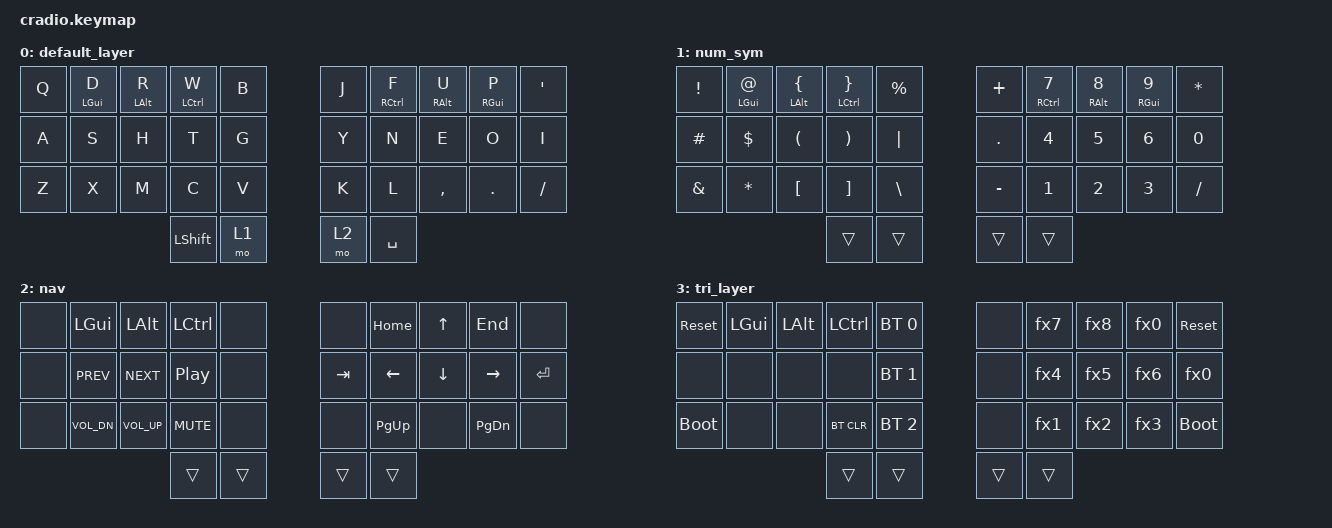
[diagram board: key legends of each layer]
// Copyright (c) 2022 The ZMK Contributors
// SPDX-License-Identifier: MIT

#include <behaviors.dtsi>
#include <dt-bindings/zmk/bt.h>
#include <dt-bindings/zmk/keys.h>

/ {
    behaviors {
        ht: hold_tap {
            label = "hold_tap";
            compatible = "zmk,behavior-hold-tap";
            #binding-cells = <2>;
            flavor = "tap-preferred";
            tapping-term-ms = <350>;
            quick-tap-ms = <150>;
            require-prior-idle-ms = <100>;
            bindings = <&kp>, <&kp>;
        };

        fx0: fx0 {
            compatible = "zmk,behavior-tap-dance";
            label = "FX0";
            #binding-cells = <0>;
            bindings = <&kp F10>, <&kp F20>;
        };

        fx1: fx1 {
            compatible = "zmk,behavior-tap-dance";
            label = "FX1";
            #binding-cells = <0>;
            bindings = <&kp F1>, <&kp F11>, <&kp F21>;
        };

        fx2: fx2 {
            compatible = "zmk,behavior-tap-dance";
            label = "FX2";
            #binding-cells = <0>;
            bindings = <&kp F2>, <&kp F12>, <&kp F22>;
        };

        fx3: fx3 {
            compatible = "zmk,behavior-tap-dance";
            label = "FX3";
            #binding-cells = <0>;
            bindings = <&kp F3>, <&kp F13>, <&kp F23>;
        };

        fx4: fx4 {
            compatible = "zmk,behavior-tap-dance";
            label = "FX4";
            #binding-cells = <0>;
            bindings = <&kp F4>, <&kp F14>, <&kp F24>;
        };

        fx5: fx5 {
            compatible = "zmk,behavior-tap-dance";
            label = "FX5";
            #binding-cells = <0>;
            bindings = <&kp F5>, <&kp F15>;
        };

        fx6: fx6 {
            compatible = "zmk,behavior-tap-dance";
            label = "FX6";
            #binding-cells = <0>;
            bindings = <&kp F6>, <&kp F16>;
        };

        fx7: fx7 {
            compatible = "zmk,behavior-tap-dance";
            label = "FX7";
            #binding-cells = <0>;
            bindings = <&kp F7>, <&kp F17>;
        };

        fx8: fx8 {
            compatible = "zmk,behavior-tap-dance";
            label = "FX8";
            #binding-cells = <0>;
            bindings = <&kp F8>, <&kp F18>;
        };

        fx9: fx9 {
            compatible = "zmk,behavior-tap-dance";
            label = "FX9";
            #binding-cells = <0>;
            bindings = <&kp F9>, <&kp F19>;
        };

        comma_semi: comma_semi {
            compatible = "zmk,behavior-tap-dance";
            label = "COMMA_SEMI";
            #binding-cells = <0>;
            bindings = <&kp COLON>, <&kp SEMI>;
        };

        dasherscore: dasherscore {
            compatible = "zmk,behavior-tap-dance";
            label = "DASHERSCORE";
            #binding-cells = <0>;
            bindings = <&kp MINUS>, <&kp UNDER>;
        };

        plus_eq: plus_eq {
            compatible = "zmk,behavior-tap-dance";
            label = "PLUS_EQ";
            #binding-cells = <0>;
            bindings = <&kp EQUAL>, <&kp PLUS>;
        };

        grave_tilde: grave_tilde {
            compatible = "zmk,behavior-tap-dance";
            label = "GRAVE_TILDE";
            #binding-cells = <0>;
            bindings = <&kp GRAVE>, <&kp TILDE>;
        };

        pipe_slash: pipe_slash {
            compatible = "zmk,behavior-tap-dance";
            label = "PIPE_SLASH";
            #binding-cells = <0>;
            bindings = <&kp PIPE>, <&kp BSLH>;
        };
    };

    combos {
        compatible = "zmk,combos";

        backspace {
            bindings = <&kp BACKSPACE>;
            key-positions = <22 23>;
            layers = <0 1 2>;
            slow-release;
        };

        backspace_wd {
            bindings = <&kp LC(BACKSPACE)>;
            key-positions = <23 22 21>;
            layers = <0 1 2>;
            slow-release;
        };

        escape {
            bindings = <&kp ESCAPE>;
            key-positions = <20 21 22 23>;
            layers = <0 1 2>;
        };

        delete {
            bindings = <&kp DELETE>;
            key-positions = <24 23>;
            layers = <0 1 2>;
        };

        delete_wd {
            bindings = <&kp LC(DELETE)>;
            key-positions = <24 23 22>;
            layers = <0 1 2>;
        };

        cut {
            bindings = <&kp LC(X)>;
            key-positions = <25 26>;
            layers = <0 1 2>;
        };

        copy {
            bindings = <&kp LC(INSERT)>;
            key-positions = <26 27>;
            layers = <0 1 2>;
        };

        paste {
            bindings = <&kp LS(INSERT)>;
            key-positions = <26 27 28>;
            layers = <0 1 2>;
        };

        paste_h {
            bindings = <&kp LG(V)>;
            key-positions = <26 27 28 29>;
            layers = <0 1 2>;
        };

        backtick {
            bindings = <&kp GRAVE>;
            key-positions = <33 16>;
        };

        dash {
            bindings = <&kp MINUS>;
            key-positions = <33 17>;
        };

        equals {
            bindings = <&kp EQUAL>;
            key-positions = <33 18>;
        };

        semicolon {
            bindings = <&kp SEMI>;
            key-positions = <33 19>;
        };

        close_tab {
            bindings = <&kp LC(W)>;
            key-positions = <3 30>;
        };

        bootloader_right {
            bindings = <&bootloader>;
            key-positions = <32 9>;
        };

        bootloader_left {
            bindings = <&bootloader>;
            key-positions = <0 31>;
        };
    };

    conditional_layers {
        compatible = "zmk,conditional-layers";

        tri_layer {
            if-layers = <1 2>;
            then-layer = <3>;
        };
    };

    keymap {
        compatible = "zmk,keymap";

        default_layer {
            bindings = <
&kp Q  &ht LGUI D  &ht LALT R  &ht LCTRL W  &kp B    &kp J  &ht RCTRL F  &ht RALT U  &ht RGUI P  &kp SQT
&kp A  &kp S       &kp H       &kp T        &kp G    &kp Y  &kp N        &kp E       &kp O       &kp I
&kp Z  &kp X       &kp M       &kp C        &kp V    &kp K  &kp L        &kp COMMA   &kp DOT     &kp FSLH
                               &kp LSHFT    &mo 1    &mo 2  &kp SPACE
            >;
        };

        num_sym {
            bindings = <
&kp EXCL  &mt LEFT_GUI AT  &mt LALT LBRC         &mt LCTRL RBRC         &kp PRCNT    &kp PLUS    &mt RCTRL N7  &mt RALT N8  &mt RIGHT_GUI N9  &kp ASTRK
&kp HASH  &kp DLLR         &kp LEFT_PARENTHESIS  &kp RIGHT_PARENTHESIS  &kp PIPE     &kp PERIOD  &kp N4        &kp N5       &kp N6            &kp N0
&kp AMPS  &kp ASTRK        &kp LEFT_BRACKET      &kp RIGHT_BRACKET      &kp BSLH     &kp MINUS   &kp N1        &kp N2       &kp N3            &kp SLASH
                                                 &trans                 &trans       &trans      &trans
            >;
        };

        nav {
            bindings = <
&none  &kp LGUI      &kp LALT      &kp LCTRL         &none     &none    &kp HOME   &kp UP    &kp END    &none
&none  &kp C_PREV    &kp C_NEXT    &kp C_PLAY_PAUSE  &none     &kp TAB  &kp LEFT   &kp DOWN  &kp RIGHT  &kp RET
&none  &kp C_VOL_DN  &kp C_VOL_UP  &kp C_MUTE        &none     &none    &kp PG_UP  &none     &kp PG_DN  &none
                                   &trans            &trans    &trans   &trans
            >;
        };

        tri_layer {
            bindings = <
&sys_reset   &kp LGUI  &kp LALT  &kp LCTRL   &bt BT_SEL 0    &none   &fx7    &fx8  &fx0  &sys_reset
&none        &none     &none     &none       &bt BT_SEL 1    &none   &fx4    &fx5  &fx6  &fx0
&bootloader  &none     &none     &bt BT_CLR  &bt BT_SEL 2    &none   &fx1    &fx2  &fx3  &bootloader
                                 &trans      &trans          &trans  &trans
            >;
        };
    };
};
